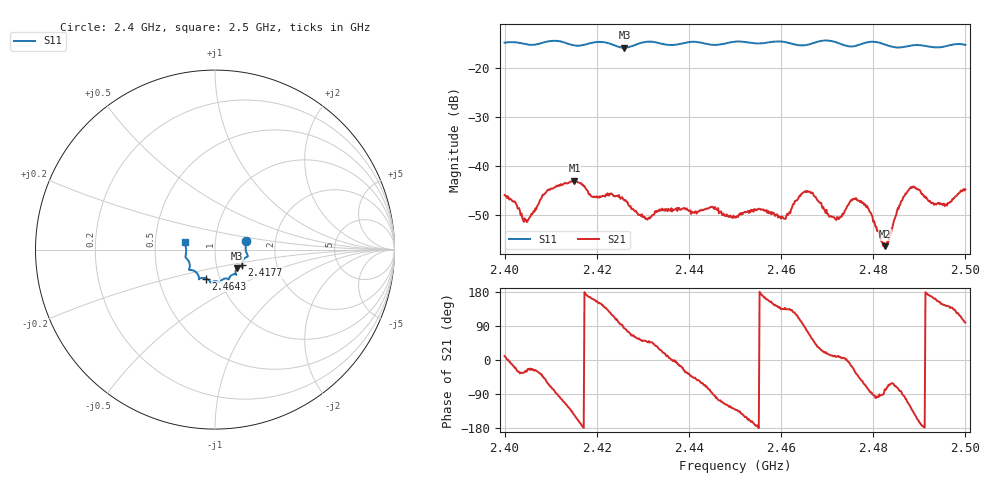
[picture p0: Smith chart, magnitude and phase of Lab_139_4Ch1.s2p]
# Hz S RI R 50
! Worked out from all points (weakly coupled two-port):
!   601 points, 2.4 GHz to 2.5 GHz, reference 50 ohm
!   highest |S21| = -42.96 dB at 2.4152 GHz (marker M1); lowest = -56.2 dB at 2.4825 GHz (marker M2)
!   lowest |S11| = -16.0 dB at 2.426 GHz (marker M3), VSWR 1.38, Z = 62.2 - j13.2 ohm
!   |S11| at or under -10 dB: start of sweep to end of sweep
!   S12 and S22 are empty: the file has one direction only
!   S11 on the Smith chart (normalised r, x): 2.4 GHz: 1.41, +0.14; 2.4177 GHz: 1.33, -0.23; 2.4643 GHz: 0.86, -0.29; 2.5 GHz: 0.71, +0.06
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2.4e9  0.1729 0.0477  0.00501 0.000917  0 0  0 0
2.404667e9  0.1718 0.0197  0.00245 -0.00146  0 0  0 0
2.409167e9  0.1811 -0.0306  0.00297 -0.00471  0 0  0 0
2.415167e9  0.1585 -0.056  -0.00589 -0.00398  0 0  0 0
2.416667e9  0.1517 -0.0731  -0.00662 -0.00103  0 0  0 0
2.417667e9  0.1505 -0.0846  -0.00581 0.000736  0 0  0 0
2.426e9  0.121 -0.1037  0.000541 0.00444  0 0  0 0
2.4305e9  0.1177 -0.1394  0.00186 0.00227  0 0  0 0
2.433333e9  0.1138 -0.1377  0.00302 0.00186  0 0  0 0
2.45e9  0.0277 -0.1818  -0.00197 -0.00228  0 0  0 0
2.4605e9  -0.0265 -0.1816  -0.00207 0.00211  0 0  0 0
2.464333e9  -0.0492 -0.1611  -0.00112 0.00507  0 0  0 0
2.466667e9  -0.076 -0.1583  0.00298 0.0045  0 0  0 0
2.4715e9  -0.0891 -0.161  0.00297 0.000569  0 0  0 0
2.4755e9  -0.1106 -0.1217  0.00436 -0.00158  0 0  0 0
2.477833e9  -0.1348 -0.1136  0.00207 -0.00371  0 0  0 0
2.4825e9  -0.1407 -0.099  0.000337 -0.0015  0 0  0 0
2.483333e9  -0.1401 -0.0906  0.000746 -0.00161  0 0  0 0
2.485667e9  -0.1466 -0.0645  0.000667 -0.00393  0 0  0 0
2.488167e9  -0.1611 -0.0472  -0.00357 -0.00498  0 0  0 0
2.4955e9  -0.1635 0.0159  -0.00324 0.00222  0 0  0 0
2.5e9  -0.1648 0.0439  -0.000889 0.00575  0 0  0 0
